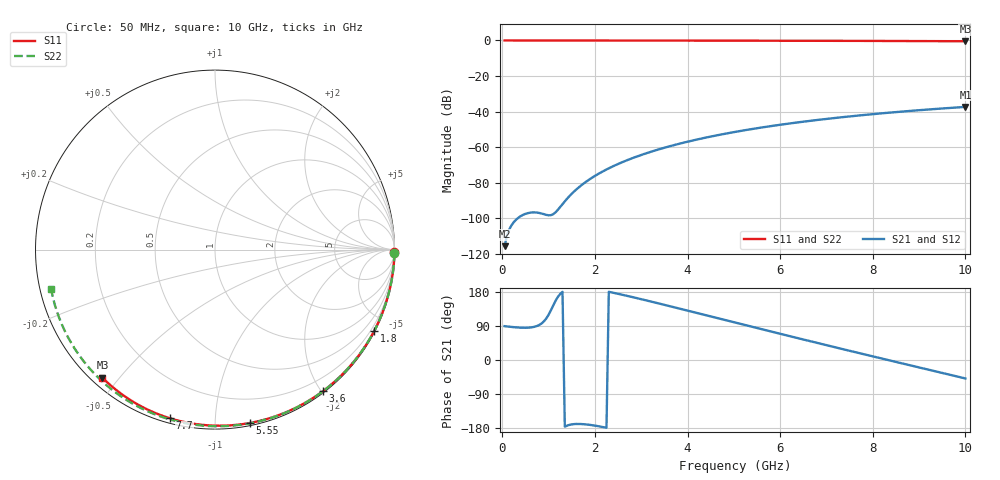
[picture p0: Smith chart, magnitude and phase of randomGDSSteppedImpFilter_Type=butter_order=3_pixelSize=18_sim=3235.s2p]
! freq	dB(S11)	phase(S11)	dB(S12)	phase(S12)
!  dB(S21)	phase(S21)	dB(S22)	phase(S22)
!S-par simulation data
#  GHz  S  DB  R 50
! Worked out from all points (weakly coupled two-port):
!   200 points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, 50 MHz to 10 GHz, reference 50 ohm
!   highest |S21| = -37.34 dB at 10 GHz (marker M1); lowest = -115.6 dB at 50 MHz (marker M2)
!   lowest |S11| = -0.4 dB at 10 GHz (marker M3), VSWR 39.06, Z = 1.54 - j22.6 ohm
!   |S11| at or under -10 dB: nowhere
!   |S22| runs from -0.5 to 0.0 dB; largest |S21 - S12| = 0
!   S11 on the Smith chart (normalised r, x): 50 MHz: open; 1.8 GHz: 0.04, -4.18; 3.6 GHz: 0.02, -2.02; 5.55 GHz: 0.02, -1.22; 7.7 GHz: 0.02, -0.77; 10 GHz: 0.03, -0.45
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0.05  -0.00 -0.8  -115.58 89.3  -115.58 89.3  -0.00 -1.0
0.45  -0.01 -6.8  -97.97 85.0  -97.97 85.0  -0.01 -8.6
0.85  -0.02 -12.8  -97.25 96.6  -97.25 96.6  -0.02 -16.2
1.3  -0.02 -19.5  -91.94 179.9  -91.94 179.9  -0.03 -24.7
1.75  -0.03 -26.2  -80.50 -169.3  -80.50 -169.3  -0.04 -33.0
1.8  -0.03 -26.9  -79.54 -169.9  -79.54 -169.9  -0.04 -34.0
1.95  -0.04 -29.1  -76.91 -172.2  -76.91 -172.2  -0.05 -36.7
2.1  -0.04 -31.3  -74.58 -175.3  -74.58 -175.3  -0.05 -39.5
2.3  -0.04 -34.2  -71.83 180.0  -71.83 180.0  -0.05 -43.1
2.5  -0.05 -37.1  -69.41 174.7  -69.41 174.7  -0.06 -46.7
2.9  -0.06 -42.8  -65.26 163.4  -65.26 163.4  -0.07 -53.8
3.4  -0.07 -49.8  -61.03 148.6  -61.03 148.6  -0.08 -62.6
3.6  -0.07 -52.6  -59.55 142.5  -59.55 142.5  -0.09 -66.0
4.3  -0.09 -62.2  -55.11 121.1  -55.11 121.1  -0.11 -77.9
5.05  -0.11 -72.1  -51.27 98.1  -51.27 98.1  -0.14 -90.1
5.55  -0.13 -78.6  -49.10 82.9  -49.10 82.9  -0.16 -98.1
6.1  -0.15 -85.6  -47.00 66.2  -47.00 66.2  -0.19 -106.7
6.7  -0.18 -93.0  -44.99 48.1  -44.99 48.1  -0.23 -115.9
7.7  -0.24 -105.0  -42.15 18.4  -42.15 18.4  -0.30 -131.1
8.35  -0.29 -112.6  -40.58 -0.7  -40.58 -0.7  -0.36 -140.9
9.2  -0.36 -122.3  -38.79 -25.4  -38.79 -25.4  -0.45 -153.8
10  -0.44 -131.3  -37.34 -48.7  -37.34 -48.7  -0.54 -166.4
